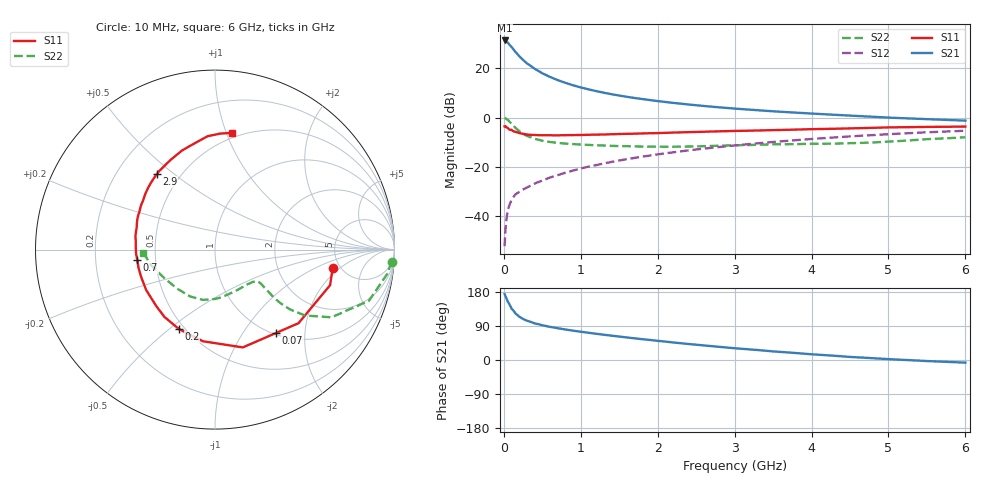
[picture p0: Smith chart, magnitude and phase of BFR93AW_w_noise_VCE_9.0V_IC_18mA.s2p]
! (c) 2017  Infineon Technologies AG, Munich
! Infineon Technologies  Discrete & RF Semiconductors
! BFR93AW
! VCE =  9.0 V,  IC =  18 mA
! Common Emitter S-Parameters:  Jan 2017
# GHz  S  MA  R  50
!  f  S11  S21  S12  S22
! GHz  MAG  ANG  MAG  ANG  MAG  ANG  MAG  ANG
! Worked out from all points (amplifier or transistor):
!   77 points, 10 MHz to 6 GHz, reference 50 ohm
!   highest |S21| = 31.2 dB at 10 MHz (marker M1)
!   |S21| within 3 dB of that: start of sweep to 109.9 MHz
!   unconditionally stable (mu >= 1): 719.9 MHz to 2.067 GHz
!   at 130 MHz: K = 0.41, MSG = 29.7 dB, |S12| = -31.9 dB
!   at 2.2 GHz: K = 0.99, MSG = 10.0 dB, |S12| = -14.1 dB
!   at 6 GHz: K = 0.85, MSG = 2.0 dB, |S12| = -5.3 dB
!   lowest NFmin = 1.47 dB at 450 MHz
!   S11 on the Smith chart (normalised r, x): 10 MHz: 4.36, -1.57; 70 MHz: 1.03, -1.43; 200 MHz: 0.47, -0.54; 700 MHz: 0.39, -0.06; 2.9 GHz: 0.37, +0.44; 6 GHz: 0.46, +1.05
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0.01  0.6639 -8.7  36.31 174.1  0.0025 85.5  0.9864 -3.9
0.02  0.671 -17.2  36.14 169.1  0.0052 89.5  0.9694 -8.0
0.05  0.6201 -41.4  33.13 154.4  0.013 72.5  0.9038 -18.4
0.07  0.5759 -53.7  30.25 147.9  0.0164 67.3  0.8384 -22.6
0.1  0.5665 -74.1  26.86 135.7  0.0216 62.7  0.7505 -30.2
0.15  0.5151 -97.5  21.45 123.1  0.0279 58.0  0.622 -36.2
0.2  0.486 -114.5  17.48 114.5  0.0313 56.6  0.5326 -38.6
0.25  0.4689 -127.0  14.65 108.2  0.0351 56.3  0.4713 -39.3
0.3  0.4538 -136.3  12.49 103.7  0.0384 56.9  0.4261 -39.2
0.4  0.4448 -149.6  9.706 96.7  0.0461 60.0  0.3723 -38.1
0.5  0.4387 -159.4  7.875 91.7  0.0531 62.3  0.3403 -37.3
0.6  0.4382 -166.6  6.639 87.5  0.0612 63.6  0.3205 -36.6
0.7  0.4367 -172.4  5.725 83.9  0.0684 65.0  0.3075 -36.5
0.9  0.4419 178.0  4.494 77.4  0.0846 66.7  0.2906 -37.6
1.1  0.4492 170.6  3.725 71.9  0.1018 67.7  0.2798 -39.8
1.5  0.465 158.5  2.786 61.9  0.1353 67.4  0.2646 -47.1
2.1  0.4905 143.7  2.067 48.5  0.1891 64.7  0.2568 -63.2
2.9  0.5313 127.5  1.564 32.9  0.2632 59.1  0.2721 -87.2
3.1  0.5395 123.7  1.481 29.5  0.2821 57.3  0.2764 -92.8
4.1  0.586 106.6  1.183 13.8  0.3781 47.7  0.2949 -121.2
5.1  0.6351 92.5  0.984 1.3  0.4691 36.7  0.3323 -154.9
6  0.6576 81.7  0.867 -7.0  0.5415 26.3  0.3997 -177.6
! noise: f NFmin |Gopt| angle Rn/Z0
0.45  1.47  0.13  155  0.14
0.9  1.74  0.23  172  0.15
1.9  2.74  0.47  -140  0.22
2.4  3.36  0.54  -127  0.43
